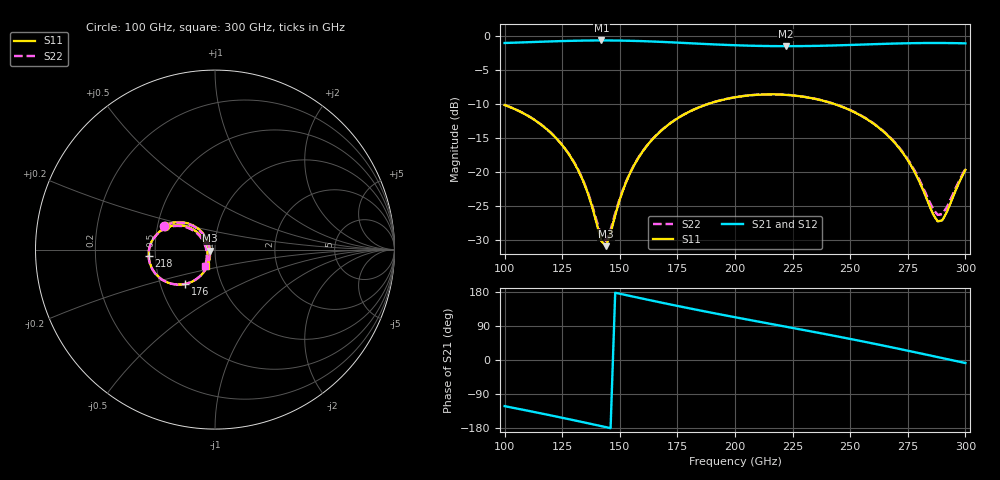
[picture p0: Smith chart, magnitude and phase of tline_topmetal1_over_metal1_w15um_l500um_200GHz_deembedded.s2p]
! Created with skrf 2.2.0 (http://scikit-rf.org).
# GHz S DB R 50.0
! Port[1] = P1
! Port[2] = P2
!freq dBS11 angS11 dBS21 angS21 dBS12 angS12 dBS22 angS22
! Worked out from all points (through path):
!   101 points, 100 GHz to 300 GHz, reference 50 ohm
!   highest |S21| = -0.70 dB at 142 GHz (marker M1); lowest = -1.5 dB at 222 GHz (marker M2)
!   group delay of S21, straight-line fit = 3.38 ps
!   lowest |S11| = -30.9 dB at 144 GHz (marker M3), VSWR 1.06, Z = 47.3 - j0.642 ohm
!   |S11| at or under -10 dB: start of sweep to 188.4 GHz; 243 GHz to end of sweep
!   |S22| runs from -30.1 to -8.6 dB; largest |S21 - S12| = 1e-13
!   S11 on the Smith chart (normalised r, x): 100 GHz: 0.55, +0.16; 176 GHz: 0.67, -0.27; 218 GHz: 0.46, -0.04; 300 GHz: 0.89, -0.16
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100  -10.15 154.6  -1.07 -121.8  -1.07 -121.8  -10.15 155.1
120  -14.22 133.9  -0.84 -146.1  -0.84 -146.1  -14.20 134.8
128  -17.42 127.7  -0.76 -156.3  -0.76 -156.3  -17.38 129.0
134  -21.22 127.0  -0.72 -164.1  -0.72 -164.1  -21.12 128.9
138  -25.08 133.5  -0.70 -169.3  -0.70 -169.3  -24.85 136.0
142  -30.09 162.8  -0.70 -174.6  -0.70 -174.6  -29.43 164.9
144  -30.85 -166.3  -0.70 -177.2  -0.70 -177.2  -30.08 -166.8
150  -24.00 -119.2  -0.72 174.9  -0.72 174.9  -23.83 -121.0
154  -20.47 -114.9  -0.74 169.6  -0.74 169.6  -20.39 -116.1
160  -16.93 -116.6  -0.80 161.8  -0.80 161.8  -16.90 -117.2
168  -13.90 -123.1  -0.91 151.5  -0.91 151.5  -13.88 -123.4
176  -11.91 -131.0  -1.03 141.5  -1.03 141.5  -11.90 -131.1
200  -9.03 -156.2  -1.40 112.9  -1.40 112.9  -9.02 -156.0
218  -8.61 -174.8  -1.53 92.5  -1.53 92.5  -8.59 -174.3
222  -8.67 -178.8  -1.53 88.0  -1.53 88.0  -8.66 -178.3
234  -9.20 169.0  -1.50 74.3  -1.50 74.3  -9.19 169.7
254  -11.59 149.3  -1.31 50.8  -1.31 50.8  -11.56 150.4
268  -15.20 137.9  -1.16 33.5  -1.16 33.5  -15.13 139.6
276  -18.79 135.9  -1.10 23.3  -1.10 23.3  -18.63 138.4
288  -27.22 -179.2  -1.07 7.7  -1.07 7.7  -26.27 -178.2
292  -25.82 -143.0  -1.08 2.4  -1.08 2.4  -25.12 -145.6
300  -19.67 -120.0  -1.12 -8.0  -1.12 -8.0  -19.50 -122.2
